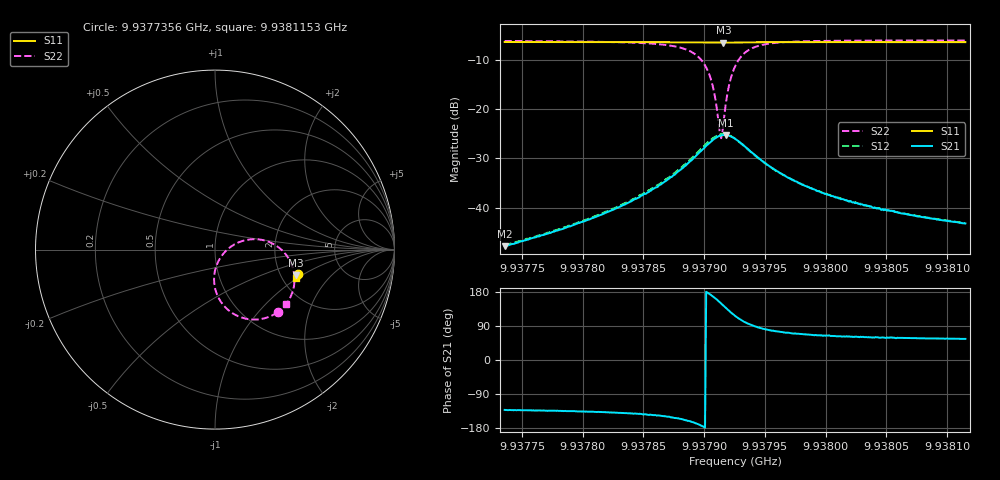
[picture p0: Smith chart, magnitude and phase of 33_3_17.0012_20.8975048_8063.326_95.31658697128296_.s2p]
#  HZ  S  RI  R  50.00
! Rohde & Schwarz Vector Network Analyzer
! Rohde-Schwarz,ZNB20-2Port,1311601062101988,3.16
! Created: UTC 3/20/2024, 10:53:35 PM
! freq[Hz]  re:S11  im:S11  re:S21  im:S21  re:S12  im:S12  re:S22  im:S22
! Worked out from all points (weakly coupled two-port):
!   401 points, 9.9377356 GHz to 9.9381153 GHz, reference 50 ohm
!   highest |S21| = -25.25 dB at 9.9379178 GHz (marker M1); lowest = -47.9 dB at 9.9377356 GHz (marker M2)
!   lowest |S11| = -6.5 dB at 9.9379159 GHz (marker M3), VSWR 2.80, Z = 121 - j44.6 ohm
!   |S11| at or under -10 dB: nowhere
!   |S22| runs from -25.9 to -6.0 dB; largest |S21 - S12| = 0.0043
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9.93773558e9  0.4624 -0.1347  -0.00269 -0.00302  -0.00284 -0.00305  0.3488 -0.3484
9.93779917e9  0.4605 -0.1391  -0.00511 -0.00497  -0.00527 -0.00499  0.3236 -0.364
9.93783619e9  0.4593 -0.1418  -0.00847 -0.00703  -0.00883 -0.00705  0.2913 -0.378
9.93786277e9  0.4579 -0.144  -0.014 -0.00931  -0.0145 -0.00925  0.2412 -0.389
9.93788555e9  0.4561 -0.1459  -0.0255 -0.0096  -0.027 -0.00947  0.1424 -0.3764
9.93789789e9  0.4542 -0.1463  -0.0377 -0.00433  -0.0399 -0.00292  0.0469 -0.3098
9.93790264e9  0.4533 -0.1459  -0.0434 0.00154  -0.0453 0.00377  0.0114 -0.2506
9.93790643e9  0.4526 -0.1454  -0.0469 0.00854  -0.0485 0.0115  -0.00432 -0.185
9.93790928e9  0.4522 -0.1449  -0.0483 0.015  -0.0492 0.0188  -0.00179 -0.1258
9.93791308e9  0.452 -0.144  -0.0473 0.0252  -0.047 0.0293  0.0292 -0.0467
9.93791403e9  0.452 -0.1437  -0.0463 0.0278  -0.0457 0.0317  0.042 -0.0284
9.93791592e9  0.4521 -0.1432  -0.0438 0.0324  -0.0426 0.0364  0.073 0.00438
9.93791782e9  0.4525 -0.1428  -0.0405 0.0367  -0.0383 0.0402  0.1098 0.0299
9.93792162e9  0.4532 -0.1421  -0.0318 0.0425  -0.0289 0.0451  0.1903 0.056
9.93792542e9  0.4543 -0.1419  -0.0224 0.0448  -0.0196 0.0461  0.2661 0.0532
9.93793301e9  0.4557 -0.1423  -0.00782 0.0416  -0.00574 0.0415  0.3698 -0.000215
9.93794345e9  0.4568 -0.1439  0.0018 0.0328  0.00285 0.0324  0.4273 -0.0837
9.93796338e9  0.4571 -0.1464  0.00611 0.0213  0.00668 0.0211  0.4426 -0.1802
9.93798901e9  0.4566 -0.149  0.00623 0.0141  0.00661 0.0142  0.4318 -0.236
9.93801749e9  0.4559 -0.1513  0.0054 0.0105  0.00581 0.0103  0.4195 -0.2661
9.93805261e9  0.455 -0.1538  0.0048 0.00797  0.00497 0.0079  0.4083 -0.2865
9.93811526e9  0.4533 -0.158  0.00387 0.00569  0.00402 0.00568  0.395 -0.3056
